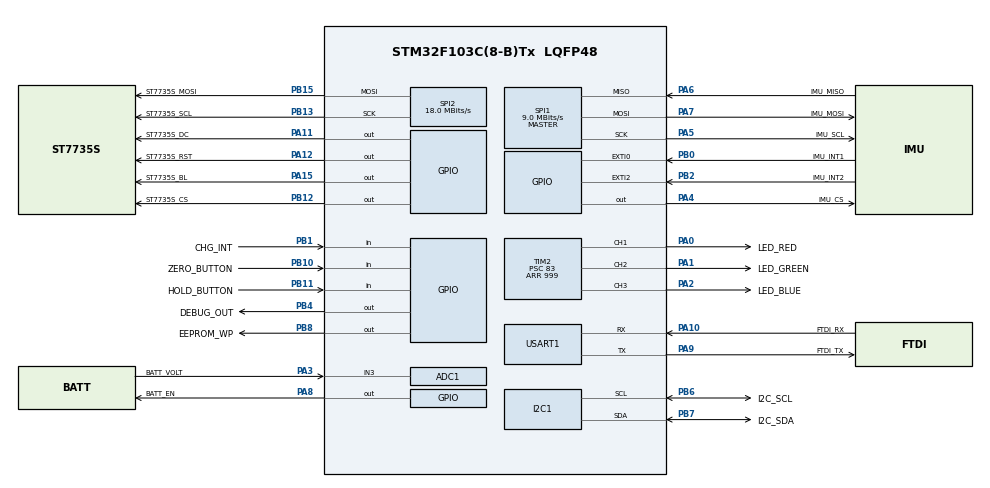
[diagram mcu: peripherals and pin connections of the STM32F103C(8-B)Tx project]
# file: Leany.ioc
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ADC1.Channel-0\#ChannelRegularConversion=ADC_CHANNEL_TEMPSENSOR
ADC1.Channel-1\#ChannelRegularConversion=ADC_CHANNEL_3
ADC1.Channel-2\#ChannelRegularConversion=ADC_CHANNEL_VREFINT
ADC1.ExternalTrigConv=ADC_SOFTWARE_START
ADC1.NbrOfConversion=3
ADC1.NbrOfConversionFlag=1
ADC1.Rank-0\#ChannelRegularConversion=1
ADC1.Rank-1\#ChannelRegularConversion=2
ADC1.Rank-2\#ChannelRegularConversion=3
ADC1.SamplingTime-0\#ChannelRegularConversion=ADC_SAMPLETIME_239CYCLES_5
ADC1.SamplingTime-1\#ChannelRegularConversion=ADC_SAMPLETIME_239CYCLES_5
ADC1.SamplingTime-2\#ChannelRegularConversion=ADC_SAMPLETIME_239CYCLES_5
ADC1.master=1
Dma.ADC1.1.Direction=DMA_PERIPH_TO_MEMORY
Dma.ADC1.1.Instance=DMA1_Channel1
Dma.ADC1.1.MemDataAlignment=DMA_MDATAALIGN_HALFWORD
Dma.ADC1.1.MemInc=DMA_MINC_ENABLE
Dma.ADC1.1.Mode=DMA_NORMAL
Dma.ADC1.1.PeriphDataAlignment=DMA_PDATAALIGN_HALFWORD
Dma.ADC1.1.PeriphInc=DMA_PINC_DISABLE
Dma.ADC1.1.Priority=DMA_PRIORITY_LOW
Dma.Request0=SPI2_TX
Dma.Request1=ADC1
Dma.SPI2_TX.0.Direction=DMA_MEMORY_TO_PERIPH
Dma.SPI2_TX.0.Instance=DMA1_Channel5
Dma.SPI2_TX.0.MemDataAlignment=DMA_MDATAALIGN_BYTE
Dma.SPI2_TX.0.MemInc=DMA_MINC_ENABLE
Dma.SPI2_TX.0.Mode=DMA_NORMAL
Dma.SPI2_TX.0.PeriphDataAlignment=DMA_PDATAALIGN_BYTE
Dma.SPI2_TX.0.PeriphInc=DMA_PINC_DISABLE
Dma.SPI2_TX.0.Priority=DMA_PRIORITY_LOW
FREERTOS.INCLUDE_uxTaskPriorityGet=0
FREERTOS.INCLUDE_vTaskDelayUntil=1
FREERTOS.INCLUDE_vTaskDelete=0
FREERTOS.INCLUDE_vTaskPrioritySet=0
FREERTOS.INCLUDE_vTaskSuspend=1
FREERTOS.INCLUDE_xEventGroupSetBitFromISR=1
FREERTOS.INCLUDE_xTaskResumeFromISR=0
FREERTOS.INCLUDE_xTimerPendFunctionCall=1
FREERTOS.MEMORY_ALLOCATION=1
FREERTOS.Tasks01=defaultTask,0,64,StartDefaultTask,Default,NULL,Static,defaultTaskBuffer,defaultTaskControlBlock
FREERTOS.configCHECK_FOR_STACK_OVERFLOW=2
FREERTOS.configENABLE_BACKWARD_COMPATIBILITY=0
FREERTOS.configGENERATE_RUN_TIME_STATS=1
FREERTOS.configMAX_PRIORITIES=16
FREERTOS.configMINIMAL_STACK_SIZE=64
FREERTOS.configRECORD_STACK_HIGH_ADDRESS=1
FREERTOS.configUSE_STATS_FORMATTING_FUNCTIONS=1
FREERTOS.configUSE_TIMERS=1
FREERTOS.configUSE_TRACE_FACILITY=1
I2C1.I2C_Mode=I2C_Fast
I2C1.OwnAddress=0
IWDG.Reload=1000
Mcu.Family=STM32F1
Mcu.Name=STM32F103C(8-B)Tx
Mcu.Package=LQFP48
NVIC.DMA1_Channel1_IRQn=true\:5\:0\:false\:false\:true\:true\:false\:true\:true
NVIC.DMA1_Channel5_IRQn=true\:5\:0\:false\:false\:true\:true\:false\:true\:true
NVIC.EXTI0_IRQn=true\:5\:0\:false\:false\:true\:true\:true\:true\:true
NVIC.EXTI2_IRQn=true\:5\:0\:false\:false\:true\:true\:true\:true\:true
NVIC.PriorityGroup=NVIC_PRIORITYGROUP_4
NVIC.TIM1_UP_IRQn=true\:15\:0\:false\:false\:true\:false\:false\:true\:true
NVIC.TimeBase=TIM1_UP_IRQn
NVIC.TimeBaseIP=TIM1
NVIC.USART1_IRQn=true\:5\:0\:false\:false\:true\:true\:true\:true\:true
PA0-WKUP.GPIO_Label=LED_RED
PA0-WKUP.GPIO_ModeDefaultPP=GPIO_MODE_AF_OD
PA0-WKUP.Signal=S_TIM2_CH1_ETR
PA1.GPIO_Label=LED_GREEN
PA1.GPIO_ModeDefaultPP=GPIO_MODE_AF_OD
PA1.Signal=S_TIM2_CH2
PA10.GPIO_Label=FTDI_RX
PA10.Mode=Asynchronous
PA10.Signal=USART1_RX
PA11.GPIO_Label=ST7735S_DC
PA11.Signal=GPIO_Output
PA12.GPIO_Label=ST7735S_RST
PA12.PinState=GPIO_PIN_SET
PA12.Signal=GPIO_Output
PA13.GPIO_Label=DEBUG_SWDIO
PA13.Mode=Serial_Wire
PA13.Signal=SYS_JTMS-SWDIO
PA14.GPIO_Label=DEBUG_SWCLK
PA14.Mode=Serial_Wire
PA14.Signal=SYS_JTCK-SWCLK
PA15.GPIO_Label=ST7735S_BL
PA15.Signal=GPIO_Output
PA2.GPIO_Label=LED_BLUE
PA2.GPIO_ModeDefaultPP=GPIO_MODE_AF_OD
PA2.Signal=S_TIM2_CH3
PA3.GPIO_Label=BATT_VOLT
PA3.Signal=ADCx_IN3
PA4.GPIO_Label=IMU_CS
PA4.GPIO_PuPd=GPIO_PULLUP
PA4.GPIO_Speed=GPIO_SPEED_FREQ_HIGH
PA4.PinState=GPIO_PIN_SET
PA4.Signal=GPIO_Output
PA5.GPIO_Label=IMU_SCL
PA5.Mode=Full_Duplex_Master
PA5.Signal=SPI1_SCK
PA6.GPIO_Label=IMU_MISO
PA6.Mode=Full_Duplex_Master
PA6.Signal=SPI1_MISO
PA7.GPIO_Label=IMU_MOSI
PA7.Mode=Full_Duplex_Master
PA7.Signal=SPI1_MOSI
PA8.GPIO_Label=BATT_EN
PA8.Signal=GPIO_Output
PA9.GPIO_Label=FTDI_TX
PA9.Mode=Asynchronous
PA9.Signal=USART1_TX
PB0.GPIO_Label=IMU_INT1
PB0.GPIO_PuPd=GPIO_PULLUP
PB0.Signal=GPXTI0
PB1.GPIO_Label=CHG_INT
PB1.GPIO_PuPd=GPIO_PULLDOWN
PB1.Signal=GPIO_Input
PB10.GPIO_Label=ZERO_BUTTON
PB10.GPIO_PuPd=GPIO_PULLUP
PB10.Signal=GPIO_Input
PB11.GPIO_Label=HOLD_BUTTON
PB11.GPIO_PuPd=GPIO_PULLUP
PB11.Signal=GPIO_Input
PB12.GPIO_Label=ST7735S_CS
PB12.GPIO_PuPd=GPIO_PULLUP
PB12.GPIO_Speed=GPIO_SPEED_FREQ_HIGH
PB12.PinState=GPIO_PIN_SET
PB12.Signal=GPIO_Output
PB13.GPIO_Label=ST7735S_SCL
PB13.Mode=TX_Only_Simplex_Unidirect_Master
PB13.Signal=SPI2_SCK
PB15.GPIO_Label=ST7735S_MOSI
PB15.Mode=TX_Only_Simplex_Unidirect_Master
PB15.Signal=SPI2_MOSI
PB2.GPIO_Label=IMU_INT2
PB2.GPIO_PuPd=GPIO_PULLUP
PB2.Signal=GPXTI2
PB4.GPIO_Label=DEBUG_OUT
PB4.Signal=GPIO_Output
PB6.GPIO_Label=I2C_SCL
PB6.Mode=I2C
PB6.Signal=I2C1_SCL
PB7.GPIO_Label=I2C_SDA
PB7.Mode=I2C
PB7.Signal=I2C1_SDA
PB8.GPIO_Label=EEPROM_WP
PB8.GPIO_ModeDefaultOutputPP=GPIO_MODE_OUTPUT_OD
PB8.GPIO_PuPd=GPIO_NOPULL
PB8.Signal=GPIO_Output
PD0-OSC_IN.Mode=HSE-External-Oscillator
PD0-OSC_IN.Signal=RCC_OSC_IN
PD1-OSC_OUT.Mode=HSE-External-Oscillator
PD1-OSC_OUT.Signal=RCC_OSC_OUT
ProjectManager.HeapSize=0x000
ProjectManager.StackSize=0x400
ProjectManager.TargetToolchain=CMake
RCC.ADCPresc=RCC_ADCPCLK2_DIV6
RCC.AHBFreq_Value=72000000
RCC.APB1CLKDivider=RCC_HCLK_DIV2
RCC.APB1Freq_Value=36000000
RCC.APB1TimFreq_Value=72000000
RCC.APB2Freq_Value=72000000
RCC.APB2TimFreq_Value=72000000
RCC.HCLKFreq_Value=72000000
RCC.PLLMUL=RCC_PLL_MUL9
RCC.PLLSourceVirtual=RCC_PLLSOURCE_HSE
RCC.SYSCLKFreq_VALUE=72000000
RCC.SYSCLKSource=RCC_SYSCLKSOURCE_PLLCLK
RCC.USBFreq_Value=72000000
SH.ADCx_IN3.0=ADC1_IN3,IN3
SH.S_TIM2_CH1_ETR.0=TIM2_CH1,PWM Generation1 CH1
SH.S_TIM2_CH2.0=TIM2_CH2,PWM Generation2 CH2
SH.S_TIM2_CH3.0=TIM2_CH3,PWM Generation3 CH3
SPI1.BaudRatePrescaler=SPI_BAUDRATEPRESCALER_8
SPI1.CLKPhase=SPI_PHASE_2EDGE
SPI1.CLKPolarity=SPI_POLARITY_HIGH
SPI1.CalculateBaudRate=9.0 MBits/s
SPI1.Direction=SPI_DIRECTION_2LINES
SPI1.Mode=SPI_MODE_MASTER
SPI1.VirtualType=VM_MASTER
SPI2.CLKPhase=SPI_PHASE_2EDGE
SPI2.CLKPolarity=SPI_POLARITY_HIGH
SPI2.CalculateBaudRate=18.0 MBits/s
SPI2.Direction=SPI_DIRECTION_2LINES
SPI2.Mode=SPI_MODE_MASTER
SPI2.VirtualType=VM_MASTER
TIM2.Channel-PWM\ Generation1\ CH1=TIM_CHANNEL_1
TIM2.Channel-PWM\ Generation2\ CH2=TIM_CHANNEL_2
TIM2.Channel-PWM\ Generation3\ CH3=TIM_CHANNEL_3
TIM2.OC1Preload_PWM=DISABLE
TIM2.OC2Preload_PWM=DISABLE
TIM2.OC3Preload_PWM=DISABLE
TIM2.OCPolarity_1=TIM_OCPOLARITY_LOW
TIM2.OCPolarity_2=TIM_OCPOLARITY_LOW
TIM2.OCPolarity_3=TIM_OCPOLARITY_LOW
TIM2.Period=999
TIM2.Prescaler=83
USART1.VirtualMode=VM_ASYNC
VP_ADC1_TempSens_Input.Mode=IN-TempSens
VP_ADC1_Vref_Input.Mode=IN-Vrefint
VP_FREERTOS_VS_CMSIS_V1.Mode=CMSIS_V1
VP_IWDG_VS_IWDG.Mode=IWDG_Activate
VP_SYS_VS_tim1.Mode=TIM1
board=custom

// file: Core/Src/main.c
/* USER CODE BEGIN Header */
/**
  ******************************************************************************
  * @file           : main.c
  * @brief          : Main program body
  ******************************************************************************
  * @attention
  *
  * Copyright (c) 2023 STMicroelectronics.
  * All rights reserved.
  *
  * This software is licensed under terms that can be found in the LICENSE file
  * in the root directory of this software component.
  * If no LICENSE file comes with this software, it is provided AS-IS.
  *
  ******************************************************************************
  */
// clang-format off
/* USER CODE END Header */
#include "main.h"
#include "cmsis_os.h"
#include "adc.h"
#include "dma.h"
#include "i2c.h"
#include "iwdg.h"
#include "spi.h"
#include "tim.h"
#include "usart.h"
#include "gpio.h"

/* USER CODE BEGIN Includes */
#include "hardware_events.h"
#include "systick.h"
#include "task_dispatcher.h"
#include "task_gpio.h"
#include "task_imu.h"
#include "task_ui.h"
#include "task_serial.h"
#include "task_battery.h"

/* USER CODE END Includes */

void SystemClock_Config(void);
void MX_FREERTOS_Init(void);
/* USER CODE BEGIN PFP */
extern inline bool isError(const ErrorCode code);
/* USER CODE END PFP */

int main(void)
{

  /* USER CODE BEGIN 1 */
    uint8_t holdingValues = 0;
  /* USER CODE END 1 */

  /* MCU Configuration--------------------------------------------------------*/

  /* Reset of all peripherals, Initializes the Flash interface and the Systick. */
  HAL_Init();

  /* Configure the system clock */
  SystemClock_Config();

  /* USER CODE BEGIN SysInit */
  primeHSEOscillator();
  /* USER CODE END SysInit */

  /* Initialize all configured peripherals */
  MX_GPIO_Init();
  MX_DMA_Init();
  MX_ADC1_Init();
  MX_IWDG_Init();
  MX_SPI1_Init();
  MX_SPI2_Init();
  MX_USART1_UART_Init();
  MX_I2C1_Init();
  MX_TIM2_Init();
  /* USER CODE BEGIN 2 */
    createHardwareEventsGroup();
    createIMUtask();
    createGPIOtask();
    (void)createUItask();
    createSerialtask();
    (void)createBatteryTask();
    (void)createMessageDispatchertask();
  /* USER CODE END 2 */

  /* Call init function for freertos objects (in cmsis_os2.c) */
  MX_FREERTOS_Init();

  /* Start scheduler */
  osKernelStart();

  /* We should never get here as control is now taken by the scheduler */

  /* Infinite loop */
  /* USER CODE BEGIN WHILE */
    while (1) {
        //reset the watchdog
        LL_IWDG_ReloadCounter(IWDG);
    /* USER CODE END WHILE */

    }
}

void SystemClock_Config(void)
{
  LL_FLASH_SetLatency(LL_FLASH_LATENCY_2);
  while(LL_FLASH_GetLatency()!= LL_FLASH_LATENCY_2)
  {
  }
  LL_RCC_HSE_Enable();

   /* Wait till HSE is ready */
  while(LL_RCC_HSE_IsReady() != 1)
  {

  }
  LL_RCC_LSI_Enable();

   /* Wait till LSI is ready */
  while(LL_RCC_LSI_IsReady() != 1)
  {

  }
  LL_RCC_PLL_ConfigDomain_SYS(LL_RCC_PLLSOURCE_HSE_DIV_1, LL_RCC_PLL_MUL_9);
  LL_RCC_PLL_Enable();

   /* Wait till PLL is ready */
  while(LL_RCC_PLL_IsReady() != 1)
  {

  }
  LL_RCC_SetAHBPrescaler(LL_RCC_SYSCLK_DIV_1);
  LL_RCC_SetAPB1Prescaler(LL_RCC_APB1_DIV_2);
  LL_RCC_SetAPB2Prescaler(LL_RCC_APB2_DIV_1);
  LL_RCC_SetSysClkSource(LL_RCC_SYS_CLKSOURCE_PLL);

   /* Wait till System clock is ready */
  while(LL_RCC_GetSysClkSource() != LL_RCC_SYS_CLKSOURCE_STATUS_PLL)
  {

  }
  LL_SetSystemCoreClock(72000000);

   /* Update the time base */
  if (HAL_InitTick (TICK_INT_PRIORITY) != HAL_OK)
  {
    Error_Handler();
  }
  LL_RCC_SetADCClockSource(LL_RCC_ADC_CLKSRC_PCLK2_DIV_6);
}

void HAL_TIM_PeriodElapsedCallback(TIM_HandleTypeDef *htim)
{
  if (htim->Instance == TIM1)
  {
    HAL_IncTick();
  }
}

void Error_Handler(void)
{
    __disable_irq();
    while (1) {
    }
}

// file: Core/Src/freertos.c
/* USER CODE BEGIN Header */
/**
  ******************************************************************************
  * File Name          : freertos.c
  * Description        : Code for freertos applications
  ******************************************************************************
  * @attention
  *
  * Copyright (c) 2024 STMicroelectronics.
  * All rights reserved.
  *
  * This software is licensed under terms that can be found in the LICENSE file
  * in the root directory of this software component.
  * If no LICENSE file comes with this software, it is provided AS-IS.
  *
  ******************************************************************************
  */
/* USER CODE END Header */

#include "FreeRTOS.h"
#include "task.h"
#include "main.h"
#include "cmsis_os.h"

/* USER CODE BEGIN Variables */
extern TIM_HandleTypeDef htim1;
/* USER CODE END Variables */
osThreadId defaultTaskHandle;
uint32_t defaultTaskBuffer[ 64 ];
osStaticThreadDef_t defaultTaskControlBlock;

void StartDefaultTask(void const * argument);

void MX_FREERTOS_Init(void); /* (MISRA C 2004 rule 8.1) */

/* GetIdleTaskMemory prototype (linked to static allocation support) */
void vApplicationGetIdleTaskMemory( StaticTask_t **ppxIdleTaskTCBBuffer, StackType_t **ppxIdleTaskStackBuffer, uint32_t *pulIdleTaskStackSize );

/* GetTimerTaskMemory prototype (linked to static allocation support) */
void vApplicationGetTimerTaskMemory( StaticTask_t **ppxTimerTaskTCBBuffer, StackType_t **ppxTimerTaskStackBuffer, uint32_t *pulTimerTaskStackSize );

/* Hook prototypes */
void configureTimerForRunTimeStats(void);
unsigned long getRunTimeCounterValue(void);
void vApplicationStackOverflowHook(TaskHandle_t xTask, signed char *pcTaskName);

/* USER CODE BEGIN 1 */
/* Functions needed when configGENERATE_RUN_TIME_STATS is on */
__weak void configureTimerForRunTimeStats(void) {
  HAL_TIM_Base_Start_IT(&htim1);
}

extern volatile unsigned long ulHighFrequencyTimerTicks;
__weak unsigned long getRunTimeCounterValue(void) {
  return ulHighFrequencyTimerTicks;
}
/* USER CODE END 1 */

/* USER CODE BEGIN 4 */
__weak void vApplicationStackOverflowHook(TaskHandle_t xTask, signed char *pcTaskName)
{
   /* Run time stack overflow checking is performed if
   configCHECK_FOR_STACK_OVERFLOW is defined to 1 or 2. This hook function is
   called if a stack overflow is detected. */
}
/* USER CODE END 4 */

/* USER CODE BEGIN GET_IDLE_TASK_MEMORY */
static StaticTask_t xIdleTaskTCBBuffer;
static StackType_t xIdleStack[configMINIMAL_STACK_SIZE];

void vApplicationGetIdleTaskMemory( StaticTask_t **ppxIdleTaskTCBBuffer, StackType_t **ppxIdleTaskStackBuffer, uint32_t *pulIdleTaskStackSize )
{
  *ppxIdleTaskTCBBuffer = &xIdleTaskTCBBuffer;
  *ppxIdleTaskStackBuffer = &xIdleStack[0];
  *pulIdleTaskStackSize = configMINIMAL_STACK_SIZE;
  /* place for user code */
}
/* USER CODE END GET_IDLE_TASK_MEMORY */

/* USER CODE BEGIN GET_TIMER_TASK_MEMORY */
static StaticTask_t xTimerTaskTCBBuffer;
static StackType_t xTimerStack[configTIMER_TASK_STACK_DEPTH];

void vApplicationGetTimerTaskMemory( StaticTask_t **ppxTimerTaskTCBBuffer, StackType_t **ppxTimerTaskStackBuffer, uint32_t *pulTimerTaskStackSize )
{
  *ppxTimerTaskTCBBuffer = &xTimerTaskTCBBuffer;
  *ppxTimerTaskStackBuffer = &xTimerStack[0];
  *pulTimerTaskStackSize = configTIMER_TASK_STACK_DEPTH;
  /* place for user code */
}
/* USER CODE END GET_TIMER_TASK_MEMORY */

void MX_FREERTOS_Init(void) {

  /* Create the thread(s) */
  /* definition and creation of defaultTask */
  osThreadStaticDef(defaultTask, StartDefaultTask, osPriorityNormal, 0, 64, defaultTaskBuffer, &defaultTaskControlBlock);
  defaultTaskHandle = osThreadCreate(osThread(defaultTask), NULL);

}

void StartDefaultTask(void const * argument)
{
  for(;;)
  {
    osDelay(1);
  }
}
